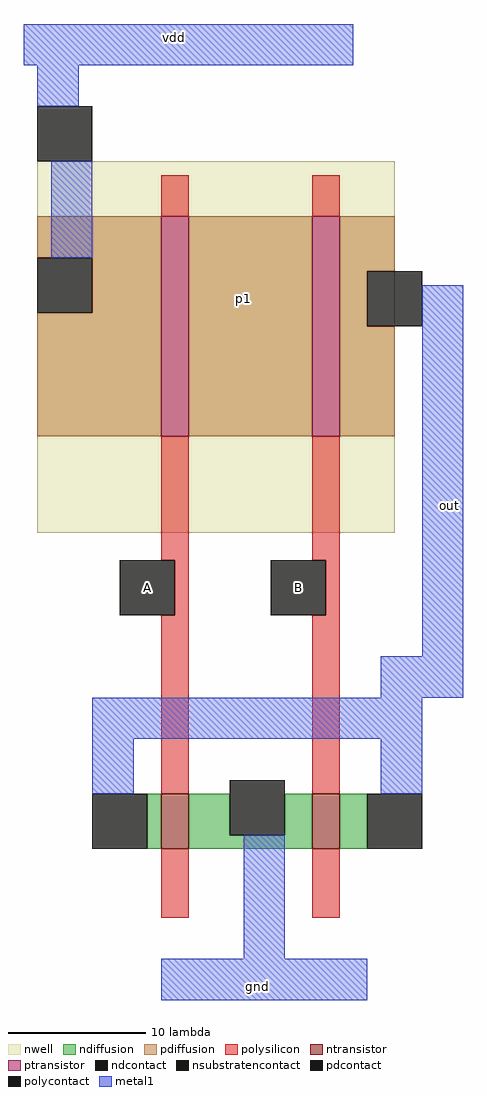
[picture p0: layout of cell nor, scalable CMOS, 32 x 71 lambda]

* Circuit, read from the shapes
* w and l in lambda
.subckt nor A B gnd out p1 vdd
M1 gnd A out VSUBS nfet w=4 l=2
M2 out B gnd VSUBS nfet w=4 l=2
M3 p1 A vdd n1 pfet w=16 l=2
M4 out B p1 n1 pfet w=16 l=2
.ends

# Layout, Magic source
magic
tech scmos
<< nwell >>
rect -16 25 10 52
<< polysilicon >>
rect -7 48 -5 51
rect 4 48 6 51
rect -7 23 -5 32
rect 4 23 6 32
rect -6 19 -5 23
rect 5 19 6 23
rect -7 6 -5 19
rect 4 6 6 19
rect -7 -3 -5 2
rect 4 -3 6 2
<< ndiffusion >>
rect -8 2 -7 6
rect -5 3 -2 6
rect 2 3 4 6
rect -5 2 4 3
rect 6 2 8 6
<< pdiffusion >>
rect -16 45 -7 48
rect -12 41 -7 45
rect -16 32 -7 41
rect -5 32 4 48
rect 6 44 10 48
rect 6 40 8 44
rect 6 32 10 40
<< metal1 >>
rect -17 59 7 62
rect -16 56 -13 59
rect -15 45 -12 52
rect 12 16 15 43
rect 9 13 15 16
rect -12 10 12 13
rect -12 6 -9 10
rect 9 6 12 10
rect -1 -6 2 3
rect -7 -9 8 -6
<< ntransistor >>
rect -7 2 -5 6
rect 4 2 6 6
<< ptransistor >>
rect -7 32 -5 48
rect 4 32 6 48
<< polycontact >>
rect -10 19 -6 23
rect 1 19 5 23
<< ndcontact >>
rect -12 2 -8 6
rect -2 3 2 7
rect 8 2 12 6
<< pdcontact >>
rect -16 41 -12 45
rect 8 40 12 44
<< nsubstratencontact >>
rect -16 52 -12 56
<< labels >>
rlabel metal1 -6 61 -6 61 5 vdd
rlabel pdiffusion -1 42 -1 42 1 p1
rlabel metal1 14 27 14 27 7 out
rlabel polycontact -8 21 -8 21 1 A
rlabel polycontact 3 21 3 21 1 B
rlabel metal1 0 -8 0 -8 1 gnd
<< end >>
